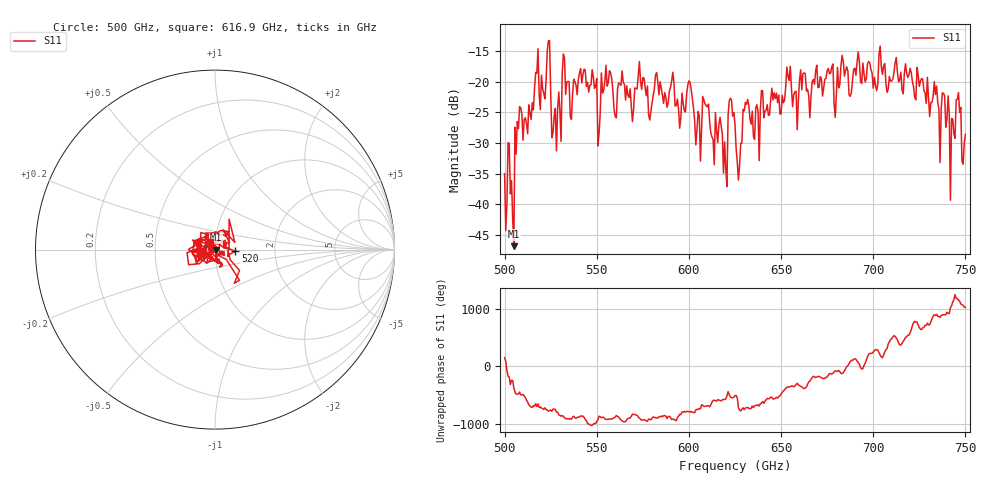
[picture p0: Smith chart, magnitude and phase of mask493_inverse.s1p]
!Created with skrf (http://scikit-rf.org).
# GHz S MA R 50.0
!freq magS11 angS11
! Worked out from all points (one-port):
!   401 points, 500 GHz to 750 GHz, reference 50 ohm
!   lowest |S11| = -46.9 dB at 505 GHz (marker M1), VSWR 1.01, Z = 50.4 - j0.123 ohm
!   |S11| at or under -10 dB: start of sweep to end of sweep
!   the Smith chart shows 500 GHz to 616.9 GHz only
!   S11 on the Smith chart (normalised r, x): 500 GHz: 0.97, +0.02; 520 GHz: 1.26, -0.02; 616.9 GHz: 0.94, +0.08
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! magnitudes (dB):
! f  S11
! 500 GHz  -35.0
! 505 GHz  -46.9
! 508.1 GHz  -24.0
! 520 GHz  -18.9
! 523.8 GHz  -13.3
! 526.9 GHz  -25.6
! 531.2 GHz  -18.6
! 548.8 GHz  -21.1
! 551.9 GHz  -25.1
! 553.8 GHz  -21.4
! 562.5 GHz  -20.4
! 593.8 GHz  -22.8
! 600 GHz  -19.8
! 605 GHz  -24.8
! 608.8 GHz  -23.6
! 616.9 GHz  -25.8
! 619.4 GHz  -29.8
! 622.5 GHz  -22.7
! 625 GHz  -27.0
! 626.9 GHz  -36.1
! 630.6 GHz  -23.4
! 656.2 GHz  -24.1
! 687.5 GHz  -22.4
! 718.8 GHz  -19.3
! 739.4 GHz  -27.4
! 743.1 GHz  -26.1
! 746.2 GHz  -21.7
! 750 GHz  -28.6
